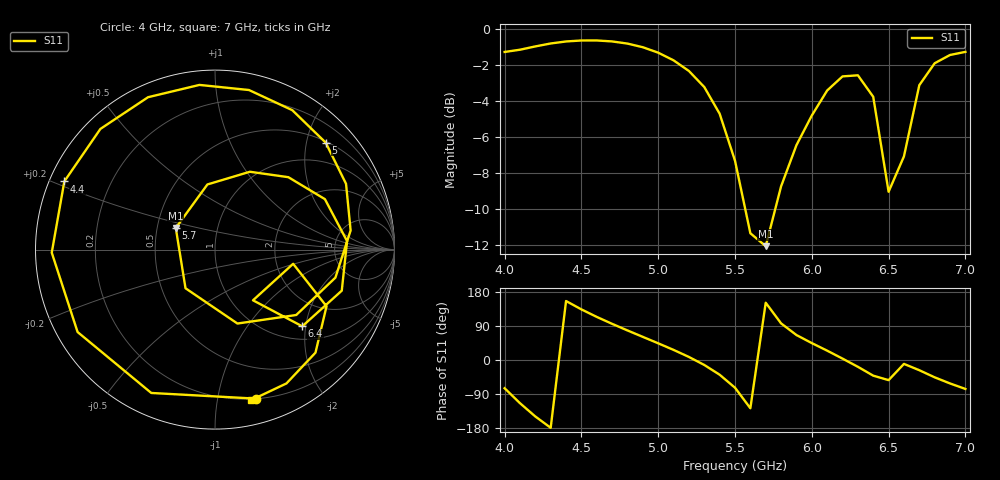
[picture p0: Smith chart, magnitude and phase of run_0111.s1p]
! Touchstone file exported from HFSS 2024.2.0
!  File:  C:/Users/wsak9/Desktop/Sim Fast/Widenad Patch/WP_AI_V1_sweep.aedt
!  Generated:  07:32:34 PM Oct 13, 2026
!  Design:  A1_model
!  Project:  WP_AI_V1_sweep
!  Setup:  Setup1
!  Solution:  Sweep
! Variables:
!  Air_gap = 3.06mm
!  Curve_Amp1 = 3.5
!  Curve_len1 = 1
!  Curve_pos = 9.68mm
!  Extra = 5.75mm
!  H_sub = 0.79mm
!  L_Patch = 15.36mm
!  L_Patch1 = 17.48mm
!  Sx = 0.34mm
!  Sy = 3.68mm
!  WS = 0.97mm
!  W_Patch = 11.87mm
!  W_Patch1 = 11.73mm
!Data is not renormalized
# GHz S MA
! Terminal data exported
! Port[1] = 1
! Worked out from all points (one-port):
!   31 points, 4 GHz to 7 GHz, reference per port
!   lowest |S11| = -12.1 dB at 5.7 GHz (marker M1), VSWR 1.66
!   |S11| at or under -10 dB: 5.567 GHz to 5.762 GHz (195.6 MHz wide, 3.45 % of centre)
!   S11 on the Smith chart (normalised r, x): 4 GHz: 0.20, -1.30; 4.4 GHz: 0.04, +0.22; 5 GHz: 0.53, +2.37; 5.7 GHz: 0.63, +0.16; 6.4 GHz: 1.30, -1.91; 7 GHz: 0.19, -1.25
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4  0.8617 -74.5
4.1  0.8741 -114.0
4.2  0.8927 -149.0
4.3  0.9097 -178.9
4.4  0.9214 155.6
4.5  0.9272 133.5
4.6  0.9274 113.7
4.7  0.9216 95.4
4.8  0.909 78.0
5  0.8577 44.1
5.2  0.7631 8.0
5.3  0.6888 -13.1
5.4  0.581 -38.8
5.5  0.4305 -73.1
5.6  0.2709 -127.3
5.7  0.2495 151.1
5.8  0.3654 96.7
5.9  0.4753 65.9
6  0.5743 44.6
6.1  0.6738 24.7
6.2  0.7373 3.7
6.3  0.7425 -18.0
6.4  0.6472 -41.3
6.5  0.353 -53.2
6.6  0.4425 -10.3
6.7  0.6972 -27.0
6.8  0.8019 -45.7
7  0.8622 -76.4
